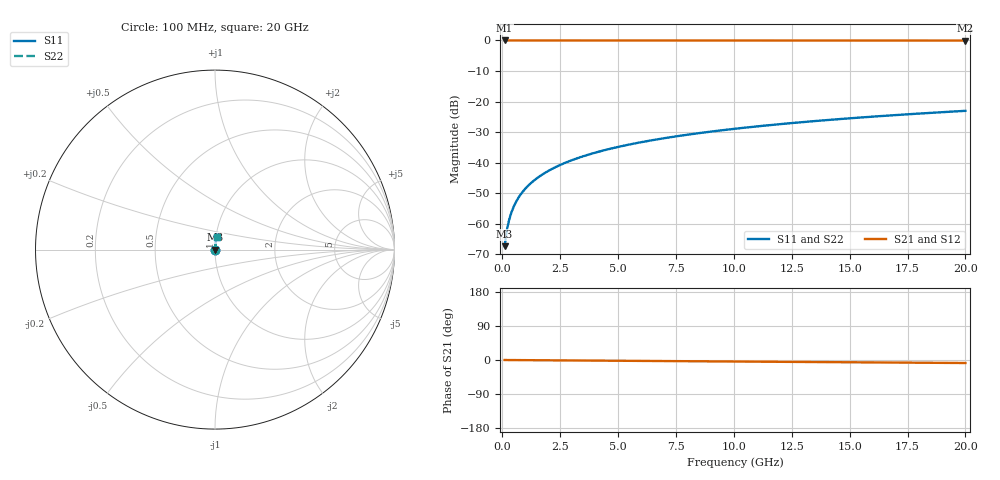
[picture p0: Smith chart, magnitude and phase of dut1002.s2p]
! Touchstone file exported from HFSS 2026.1.0
!  File:  C:/ffzhzh/LocalFiles/Ansys_Project_Files/temp_train_TSV_1002_1783188428_55132.aedt
!  Generated:  02:09:07 AM Jul  5, 2026
!  Design:  TSV
!  Project:  temp_train_TSV_1002_1783188428_55132
! Variables:
!  h_bsmrdl = 2um
!  h_ox = 20um
!  h_rdl = 5um
!  h_sub = 60.05um
!  h_tmrdl = 5um
!  h_tsv = 60.05um
!  h_via = 3um
!  l_bsmrdl = 300um
!  l_sub = 413.72um
!  l_tmrdl = 200um
!  m_sub = 200um
!  pitch = 59.03um
!  r_tsv = 6.86um
!  s_tmrdl = 10um
!  w_bsmrdl = 18um
!  w_sub = 500um
!  w_tmrdl = 12um
!  x_tsv_center1 = 206um
!  x_tsv_center2 = 524um
!  x_tsv_center3 = 736um
!  x_tsv_center4 = 1054um
!  x_tsv_center5 = 1266um
!  x_tsv_center6 = 1584um
# GHz S MA R 50.000000
! Terminal data exported
! Port[1] = TSV1_1_T1
! Port[2] = TSV1_1_T2
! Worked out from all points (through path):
!   200 points, 100 MHz to 20 GHz, reference 50 ohm
!   highest |S21| = 0.00 dB at 100 MHz (marker M1); lowest = 0.0 dB at 20 GHz (marker M2)
!   group delay of S21, straight-line fit = 1.1 ps
!   lowest |S11| = -67.4 dB at 100 MHz (marker M3), VSWR 1.00, Z = 50 + j0.0388 ohm
!   |S11| at or under -10 dB: start of sweep to end of sweep
!   |S22| runs from -67.4 to -23.1 dB; largest |S21 - S12| = 4.4e-15
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0.1  0.0004275 65.0  0.9998 -0.0  0.9998 -0.0  0.0004275 65.0
! Gamma 0 0 0 0
! Port Impedance 50 0 50 0
0.2  0.0007961 76.2  0.9998 -0.1  0.9998 -0.1  0.0007961 76.2
0.3  0.001174 80.0  0.9998 -0.1  0.9998 -0.1  0.001174 80.0
0.4  0.001551 81.8  0.9998 -0.2  0.9998 -0.2  0.001551 81.8
0.5  0.001925 82.9  0.9998 -0.2  0.9998 -0.2  0.001925 82.9
0.6  0.002296 83.5  0.9997 -0.2  0.9997 -0.2  0.002296 83.5
0.7  0.002665 84.0  0.9997 -0.3  0.9997 -0.3  0.002665 84.0
0.8  0.00303 84.3  0.9997 -0.3  0.9997 -0.3  0.00303 84.3
1  0.003757 84.8  0.9997 -0.4  0.9997 -0.4  0.003757 84.8
1.4  0.005198 85.4  0.9996 -0.6  0.9996 -0.6  0.005198 85.4
1.7  0.006275 85.7  0.9996 -0.7  0.9996 -0.7  0.006275 85.7
2  0.00735 85.9  0.9996 -0.8  0.9996 -0.8  0.00735 85.9
2.7  0.009855 86.2  0.9995 -1.1  0.9995 -1.1  0.009855 86.2
3.5  0.01271 86.2  0.9994 -1.4  0.9994 -1.4  0.01271 86.2
4.2  0.0152 86.1  0.9993 -1.7  0.9993 -1.7  0.0152 86.1
5  0.01804 86.0  0.9992 -2.0  0.9992 -2.0  0.01804 86.0
6.8  0.02439 85.5  0.9989 -2.7  0.9989 -2.7  0.02439 85.5
8.3  0.02967 85.1  0.9987 -3.3  0.9987 -3.3  0.02967 85.1
10.1  0.03598 84.5  0.9984 -4.0  0.9984 -4.0  0.03598 84.5
13.4  0.04751 83.4  0.9978 -5.3  0.9978 -5.3  0.04751 83.4
16.7  0.05897 82.2  0.9971 -6.7  0.9971 -6.7  0.05897 82.2
20  0.07036 81.0  0.9962 -8.0  0.9962 -8.0  0.07036 81.0
